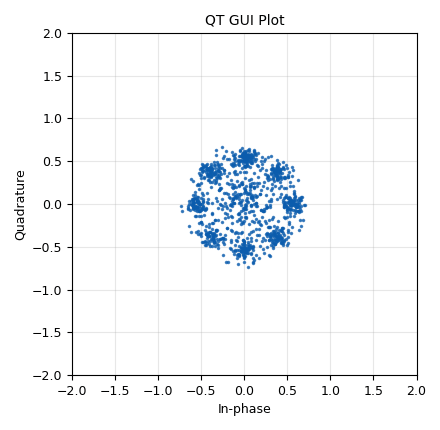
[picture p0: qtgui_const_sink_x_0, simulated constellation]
<?xml version='1.0' encoding='utf-8'?>
<?grc format='1' created='3.7.13'?>
<flow_graph>
<block>
<key>options</key>
<param><key>id</key><value>qpsk_tx_uhd_qt</value></param>
<param><key>author</key><value>Walt Kilar</value></param>
<param><key>category</key><value>Custom</value></param>
<param><key>description</key><value>QPSK Transmitter using QT GUI</value></param>
<param><key>generate_options</key><value>qt_gui</value></param>
<param><key>title</key><value>QPSK Transmitter (QT)</value></param>
</block>
<block>
<key>variable</key>
<param><key>id</key><value>freq</value></param>
<param><key>value</key><value>2.421e9</value></param>
</block>
<block>
<key>variable</key>
<param><key>id</key><value>gain</value></param>
<param><key>value</key><value>30</value></param>
</block>
<block>
<key>variable</key>
<param><key>id</key><value>samp_rate</value></param>
<param><key>value</key><value>320e3</value></param>
</block>
<block>
<key>analog_random_source_x</key>
<param><key>id</key><value>analog_random_source_x_0</value></param>
<param><key>max</key><value>255</value></param>
<param><key>min</key><value>0</value></param>
<param><key>num_samps</key><value>10000000</value></param>
<param><key>type</key><value>byte</value></param>
<param><key>repeat</key><value>True</value></param>
</block>
<block>
<key>blocks_multiply_const_vxx</key>
<param><key>id</key><value>blocks_multiply_const_vxx_0</value></param>
<param><key>const</key><value>0.5</value></param>
<param><key>type</key><value>complex</value></param>
</block>
<block>
<key>blocks_throttle</key>
<param><key>id</key><value>blocks_throttle_0</value></param>
<param><key>samples_per_second</key><value>samp_rate</value></param>
<param><key>type</key><value>complex</value></param>
</block>
<block>
<key>digital_psk_mod</key>
<param><key>id</key><value>digital_psk_mod_0</value></param>
<param><key>differential</key><value>True</value></param>
<param><key>excess_bw</key><value>350e-3</value></param>
<param><key>mod_code</key><value>"gray"</value></param>
<param><key>constellation_points</key><value>8</value></param>
<param><key>samples_per_symbol</key><value>2</value></param>
</block>
<block>
<key>qtgui_const_sink_x</key>
<param><key>id</key><value>qtgui_const_sink_x_0</value></param>
<param><key>name</key><value>QT GUI Plot</value></param>
<param><key>size</key><value>1024</value></param>
<param><key>type</key><value>complex</value></param>
</block>
<connection><source_block_id>analog_random_source_x_0</source_block_id><sink_block_id>digital_psk_mod_0</sink_block_id><source_key>0</source_key><sink_key>0</sink_key></connection>
<connection><source_block_id>blocks_multiply_const_vxx_0</source_block_id><sink_block_id>blocks_throttle_0</sink_block_id><source_key>0</source_key><sink_key>0</sink_key></connection>
<connection><source_block_id>blocks_throttle_0</source_block_id><sink_block_id>qtgui_const_sink_x_0</sink_block_id><source_key>0</source_key><sink_key>0</sink_key></connection>
<connection><source_block_id>digital_psk_mod_0</source_block_id><sink_block_id>blocks_multiply_const_vxx_0</sink_block_id><source_key>0</source_key><sink_key>0</sink_key></connection>
</flow_graph>
